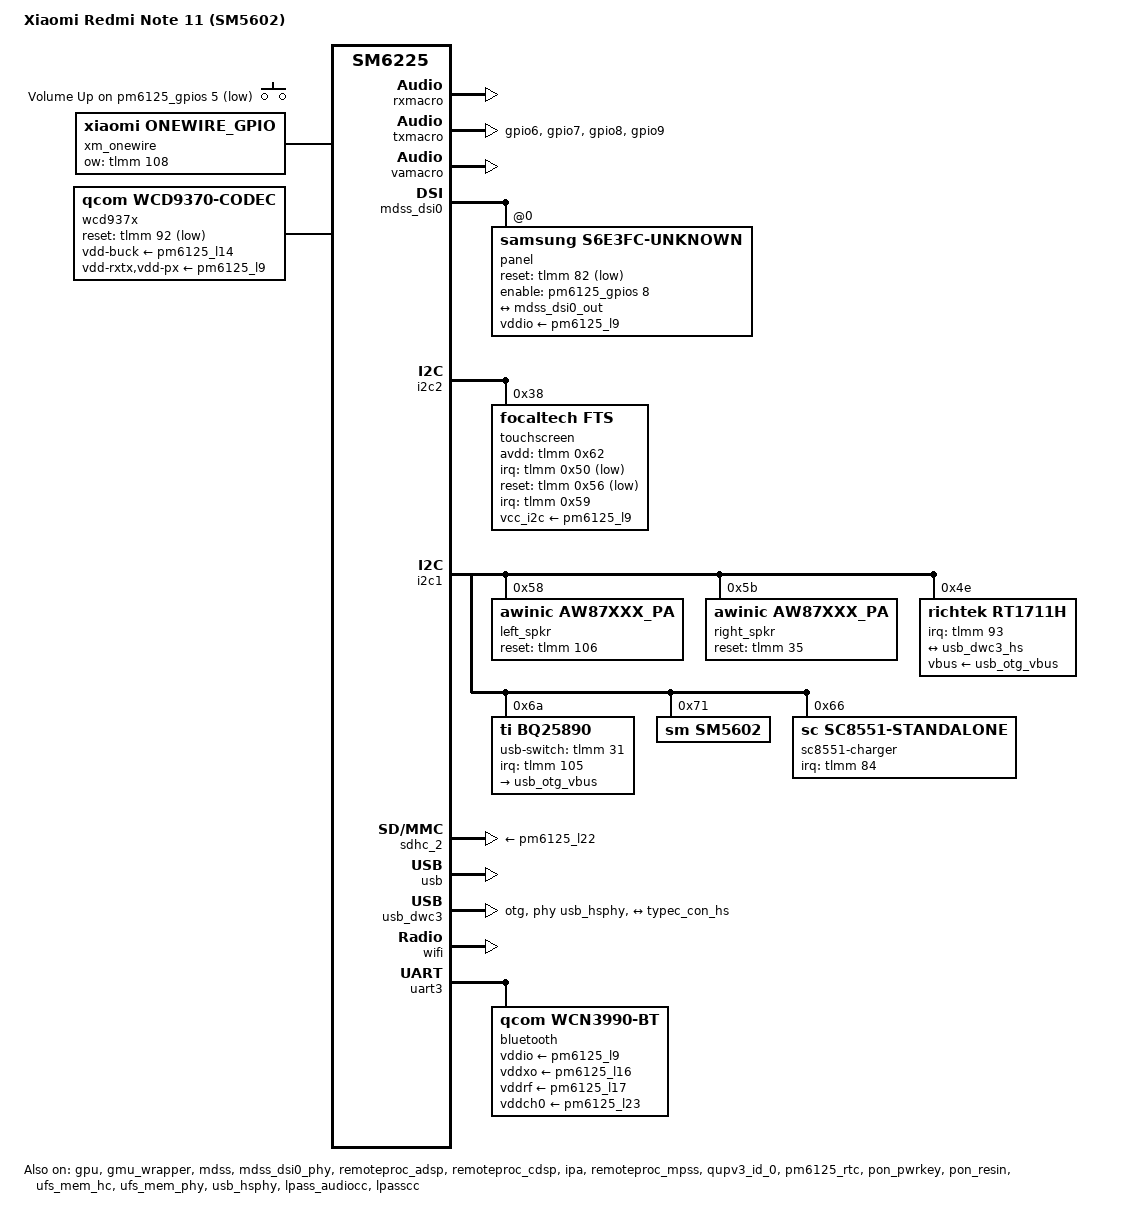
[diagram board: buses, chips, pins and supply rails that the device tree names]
// SPDX-License-Identifier: (GPL-2.0+ OR BSD-3-Clause)
/*
 * Copyright (c) 2026, SCOS100 <hsc100zz@gmail.com>
 */

/dts-v1/;

#include <dt-bindings/usb/pd.h>
#include <dt-bindings/sound/qcom,q6afe.h>
#include <dt-bindings/sound/qcom,q6asm.h>
#include "sm6225.dtsi"
#include "pm6125.dtsi"

/ {
	model = "Xiaomi Redmi Note 11 (SM5602)";
	compatible = "xiaomi,spes", "qcom,sm6225";
	chassis-type = "handset";

	/* required for bootloader to select correct board */
	qcom,msm-id = <518 0x10000>;
	qcom,board-id = <0x40022 0>;
	qcom,pmic-id = <0x2D 0x0 0x0 0x0>;

	aliases {
		serial0 = &uart3;
	};

	gpio-keys {
		compatible = "gpio-keys";
		pinctrl-names = "default";
		pinctrl-0 = <&vol_up_n>;
		key-volume-up {
			label = "Volume Up";
			linux,code = <KEY_VOLUMEUP>;
			gpios = <&pm6125_gpios 5 GPIO_ACTIVE_LOW>;
			debounce-interval = <15>;
			linux,can-disable;
			wakeup-source;
		};
	};

	/* Xiaomi battery authentication over bit-banged 1-wire (gpio108).
	 * Ported from downstream spes-sm5602.dtsi. */
	onewire_gpio: onewire-gpio {
		compatible = "xiaomi,onewire_gpio";
		label = "xm_onewire";
		xiaomi,version = <1>;
		/* Mainline gpiolib only matches hyphenated -gpios/-gpio
		 * names; downstream xiaomi,ow_gpio is kept as a comment
		 * for reference. Values/pins are unchanged. */
		xiaomi,ow-gpios = <&tlmm 108 GPIO_ACTIVE_HIGH>;
		xiaomi,gpio_number = <108>;
		mi,onewire-gpio-cfg-addr = <0x96c000 0x04>;
		pinctrl-names = "onewire_active", "onewire_sleep";
		pinctrl-0 = <&onewire_gpio_active>;
		pinctrl-1 = <&onewire_gpio_sleep>;
		status = "okay";
	};

	maxim_ds28e16: ds28e16 {
		compatible = "maxim,ds28e16";
		label = "max_ds28e16";
		maxim,version = <1>;
		status = "okay";
	};

	/* Xiaomi charger policy: aggregates bms + main buck into the
	 * user-visible battery/usb supplies; SW-JEITA + thermal + pump
	 * coordination. Tables ported from downstream spes-sm5602.dtsi. */
	nopmi_chg: charger-policy {
		compatible = "qcom,nopmi-chg";
		status = "okay";
		main-charger = <&bq25890>;
		pd-source = <&rt1711h>;
		qcom,fv-max-uv = <4400000>;
		/* Divider-pump engage thresholds (no downstream source for
		 * these; conservative: fixed 9V-class PD only). */
		nopmi,pump-min-uv = <9000000>;
		nopmi,pump-max-uv = <10000000>;
		nopmi,pump-min-ua = <2000000>;
		nopmi,pump-max-soc = <95>;
		enable_sw_jeita;
		jeita_temp_above_t4_cv = <4100>;
		jeita_temp_t3_to_t4_cv = <4100>;
		jeita_temp_t2_to_t3_cv = <4450>;
		jeita_temp_t1p5_to_t2_cv = <4450>;
		jeita_temp_t1_to_t1p5_cv = <4450>;
		jeita_temp_t0_to_t1_cv = <4450>;
		jeita_temp_tn1_to_t0_cv = <4450>;
		jeita_temp_below_t0_cv = <4450>;
		temp_t4_thres = <60>;
		temp_t4_thres_minus_x_degree = <58>;
		temp_t3_thres = <0x30>;
		temp_t3_thres_minus_x_degree = <46>;
		temp_t2_thres = <15>;
		temp_t2_thres_plus_x_degree = <0x11>;
		temp_t1p5_thres = <10>;
		temp_t1p5_thres_plus_x_degree = <11>;
		temp_t1_thres = <5>;
		temp_t1_thres_plus_x_degree = <6>;
		temp_t0_thres = <0>;
		temp_t0_thres_plus_x_degree = <1>;
		temp_tn1_thres = <0xfffffff6>;
		temp_tn1_thres_plus_x_degree = <0xfffffff7>;
		temp_neg_10_thres = <0xfffffff6>;
		temp_t3_to_t4_fcc = <2350>;
		temp_t2_to_t3_fcc = <0x173e>;
		temp_t1p5_to_t2_fcc = <3900>;
		temp_t1_to_t1p5_fcc = <2400>;
		temp_t0_to_t1_fcc = <950>;
		temp_tn1_to_t0_fcc = <490>;
		nopmi,thermal-mitigation = <5950000 5400000 5000000 4500000 4000000 3700000 3500000 3000000 2800000 2500000 2000000 1500000 1000000 800000 500000  300000>;
	};

	chosen {
		bootargs = "pmos.nosplash clk_ignore_unused pd_ignore_unused";

		#address-cells = <0x02>;
		#size-cells = <0x02>;
		ranges;

		framebuffer0: framebuffer@5c000000 {
			compatible = "simple-framebuffer";
			format = "a8r8g8b8";
			height = <0x960>;
			reg = <0x00 0x5c000000 0x00 0xf00000>;
			status = "okay";
			stride = <0x10e0>;
			width = <0x438>;
		};
	};

	reserved-memory {};

	sound {
		compatible = "qcom,qrb4210-rb2-sndcard";
		model = "SM6225-WCD9370-WSA8810-Speaker-DMIC";
		audio-routing =
				"AMIC1", "MIC BIAS1",
				"AMIC2", "MIC BIAS2",
				"AMIC3", "MIC BIAS3",

				"IN1_HPHL", "HPHL_OUT",
				"IN2_HPHR", "HPHR_OUT",
				"IN3_AUX", "AUX_OUT",

				"VA DMIC0", "VA MIC BIAS1",
				"VA DMIC1", "VA MIC BIAS1",
				"VA DMIC2", "VA MIC BIAS3",
				"VA DMIC3", "VA MIC BIAS3",

				"VA SWR_MIC0", "ADC1_OUTPUT",
				"VA SWR_MIC4", "ADC2_OUTPUT",
				"VA SWR_MIC5", "ADC3_OUTPUT",

				"TX SWR_INPUT0", "ADC1_OUTPUT",
				"TX SWR_INPUT4", "ADC2_OUTPUT",

				"SpkrLeft IN", "AUX",
				"SpkrRight IN", "AUX";

		aux-devs = <&left_spkr &right_spkr>;

		mm1-dai-link {
			link-name = "MultiMedia1";

			cpu {
				sound-dai = <&q6asmdai MSM_FRONTEND_DAI_MULTIMEDIA1>;
			};
		};

		mm2-dai-link {
			link-name = "MultiMedia2";

			cpu {
				sound-dai = <&q6asmdai MSM_FRONTEND_DAI_MULTIMEDIA2>;
			};
		};

		mm3-dai-link {
			link-name = "MultiMedia3";

			cpu {
				sound-dai = <&q6asmdai MSM_FRONTEND_DAI_MULTIMEDIA3>;
			};
		};

		wcd-playback-dai-link {
			link-name = "WCD Playback";

			cpu {
				sound-dai = <&q6afedai RX_CODEC_DMA_RX_0>;
			};

			platform {
				sound-dai = <&q6routing>;
			};

			codec {
				sound-dai = <&wcd937x 0>,
				<&swr1 0>,
				<&rxmacro 0>;
			};
		};

		// spk-dai-link {
		// 	link-name = "Speaker Playback";
		// 	cpu {
		// 		sound-dai = <&q6afedai SLIMBUS_0_RX>;
		// 	};
		// 	platform {
		// 		sound-dai = <&q6routing>;
		// 	};
		// 	codec {
		// 		sound-dai = <&left_spkr>, <&right_spkr>;
		// 	};
		// };

		wcd-capture-dai-link {
			link-name = "WCD Capture";

			cpu {
				sound-dai = <&q6afedai TX_CODEC_DMA_TX_3>;
			};

			platform {
				sound-dai = <&q6routing>;
			};

			codec {
				sound-dai = <&wcd937x 1>,
				<&swr0 0>,
				<&txmacro 0>;
			};
		};

		va-dai-link {
			link-name = "VA Capture";

			cpu {
				sound-dai = <&q6afedai VA_CODEC_DMA_TX_0>;
			};

			platform {
				sound-dai = <&q6routing>;
			};

			codec {
				sound-dai = <&vamacro 0>;
			};
		};
	};
};

&soc {
	rxmacro: codec@a600000 {
		compatible = "qcom,sm6115-lpass-rx-macro";
		reg = <0x0 0x0a600000 0x0 0x1000>;
		#clock-cells = <0>;
		#sound-dai-cells = <1>;
		clocks = <&q6afecc LPASS_CLK_ID_RX_CORE_MCLK LPASS_CLK_ATTRIBUTE_COUPLE_NO>,
			 <&q6afecc LPASS_CLK_ID_RX_CORE_NPL_MCLK LPASS_CLK_ATTRIBUTE_COUPLE_NO>,
			 <&q6afecc LPASS_HW_DCODEC_VOTE LPASS_CLK_ATTRIBUTE_COUPLE_NO>,
			 <&vamacro>;
		clock-names = "mclk", "npl", "dcodec", "fsgen";
		clock-output-names = "mclk";
		status = "okay";
	};

	txmacro: codec@a620000 {
		compatible = "qcom,sm6115-lpass-tx-macro";
		reg = <0x0 0x0a620000 0x0 0x1000>;
		qcom,dmic-sample-rate = <600000>;
		#clock-cells = <0>;
		#sound-dai-cells = <1>;
		pinctrl-0 = <&lpi_dmic01_active &lpi_dmic23_active>;
		pinctrl-names = "default";
		clocks = <&q6afecc LPASS_CLK_ID_TX_CORE_MCLK LPASS_CLK_ATTRIBUTE_COUPLE_NO>,
			 <&q6afecc LPASS_CLK_ID_TX_CORE_NPL_MCLK LPASS_CLK_ATTRIBUTE_COUPLE_NO>,
			 <&q6afecc LPASS_HW_DCODEC_VOTE LPASS_CLK_ATTRIBUTE_COUPLE_NO>,
			 <&vamacro>;
		clock-names = "mclk", "npl", "dcodec", "fsgen";
		clock-output-names = "mclk";
		status = "okay";
	};

	vamacro: codec@a730000 {
		compatible = "qcom,sm6115-lpass-va-macro";
		reg = <0x0 0x0a730000 0x0 0x1000>;
		qcom,dmic-sample-rate = <600000>;
		#clock-cells = <0>;
		#sound-dai-cells = <1>;
		clocks = <&q6afecc LPASS_CLK_ID_TX_CORE_MCLK LPASS_CLK_ATTRIBUTE_COUPLE_NO>,
			 <&q6afecc LPASS_HW_DCODEC_VOTE LPASS_CLK_ATTRIBUTE_COUPLE_NO>,
			 <&q6afecc LPASS_CLK_ID_TX_CORE_NPL_MCLK LPASS_CLK_ATTRIBUTE_COUPLE_NO>;
		clock-names = "mclk", "dcodec", "npl";
		clock-output-names = "fsgen";
		status = "okay";
	};

	lpass_audiocc: clock-controller@a6a9000 {
		compatible = "qcom,sm6115-lpassaudiocc";
		reg = <0x0 0x0a6a9000 0x0 0x1000>;
		#reset-cells = <1>;

		status = "okay";
	};

	lpasscc: clock-controller@a7ec000 {
		compatible = "qcom,sm6115-lpasscc";
		reg = <0x0 0x0a7ec000 0x0 0x1000>;
		#reset-cells = <1>;

		status = "okay";
	};

	wcd937x: codec {
		compatible = "qcom,wcd9370-codec";
		pinctrl-names = "default";
		pinctrl-0 = <&wcd_reset_n>;
		reset-gpios = <&tlmm 92 GPIO_ACTIVE_LOW>;
		vdd-buck-supply = <&pm6125_l14>;
		vdd-rxtx-supply = <&pm6125_l9>;
		vdd-px-supply = <&pm6125_l9>;
		qcom,micbias1-microvolt = <1800000>;
		qcom,micbias2-microvolt = <1800000>;
		qcom,micbias3-microvolt = <1800000>;
		qcom,rx-device = <&wcd937x_rx>;
		qcom,tx-device = <&wcd937x_tx>;
		#sound-dai-cells = <1>;
	};

	swr0: soundwire@a740000 {
		compatible = "qcom,soundwire-v1.6.0";
		reg = <0x0 0x0a740000 0x0 0x2000>;
		interrupts = <GIC_SPI 296 IRQ_TYPE_LEVEL_HIGH>,
		<GIC_SPI 79 IRQ_TYPE_LEVEL_HIGH>;

		pinctrl-0 = <&lpi_swr_tx_active>;
		pinctrl-names = "default";

		clocks = <&txmacro>;
		clock-names = "iface";

		resets = <&lpasscc 0>;
		reset-names = "swr_audio_cgcr";

		label = "VA_TX";

		qcom,din-ports = <3>;
		qcom,dout-ports = <0>;

		qcom,ports-sinterval-low =
		/bits/ 8 <0x03 0x03 0x03>;
		qcom,ports-offset1 =
		/bits/ 8 <0x01 0x02 0x01>;
		qcom,ports-offset2 =
		/bits/ 8 <0x00 0x00 0x00>;
		qcom,ports-hstart =
		/bits/ 8 <0xff 0xff 0xff>;
		qcom,ports-hstop =
		/bits/ 8 <0xff 0xff 0xff>;
		qcom,ports-word-length =
		/bits/ 8 <0xff 0xff 0xff>;
		qcom,ports-block-pack-mode =
		/bits/ 8 <0xff 0xff 0xff>;
		qcom,ports-block-group-count =
		/bits/ 8 <0xff 0xff 0xff>;
		qcom,ports-lane-control =
		/bits/ 8 <0x00 0x00 0x00>;

		#sound-dai-cells = <1>;
		#address-cells = <2>;
		#size-cells = <0>;

		wcd937x_tx: codec@0,3 {
			compatible = "sdw20217010a00";
			reg = <0 3>;

			/*
			 * WCD9370 TX Port 1 (ADC1)               <=> SWR Port 1
			 * WCD9370 TX Port 2 (ADC2, 3)            <=> SWR Port 1
			 * WCD9370 TX Port 3 (DMIC0,1,2,3 & MBHC) <=> SWR Port 2
			 * WCD9370 TX Port 4 (DMIC4,5,6,7)        <=> SWR Port 3
			 */
			qcom,tx-port-mapping = <1 1 2 3>;

			/*
			 * Static channel mapping between slave and master tx
			 * port channels, in the order of slave port channels
			 * which is adc1, adc2, adc3, mic0, dmic1, mbhc,
			 * dmic2, dmic3, dmic4, dmic5, dmic6, dmic7.
			 */
			qcom,tx-channel-mapping = /bits/ 8
			<1 2 1 1 2 3 3 4 1 2 3 4>;
		};
	};

	swr1: soundwire@a610000 {
		compatible = "qcom,soundwire-v1.6.0";
		reg = <0x0 0x0a610000 0x0 0x2000>;
		interrupts = <GIC_SPI 297 IRQ_TYPE_LEVEL_HIGH>;

		pinctrl-0 = <&lpi_swr_rx_active>;
		pinctrl-names = "default";

		clocks = <&rxmacro>;
		clock-names = "iface";

		resets = <&lpass_audiocc 0>;
		reset-names = "swr_audio_cgcr";

		label = "RX";

		qcom,din-ports = <0>;
		qcom,dout-ports = <5>;

		qcom,ports-sinterval-low =
		/bits/ 8 <0x03 0x1f 0x1f 0x07 0x00>;
		qcom,ports-offset1 =
		/bits/ 8 <0x00 0x00 0x0b 0x01 0x00>;
		qcom,ports-offset2 =
		/bits/ 8 <0x00 0x00 0x0b 0x00 0x00>;
		qcom,ports-hstart =
		/bits/ 8 <0xff 0x03 0xff 0xff 0xff>;
		qcom,ports-hstop =
		/bits/ 8 <0xff 0x06 0xff 0xff 0xff>;
		qcom,ports-word-length =
		/bits/ 8 <0x01 0x07 0x04 0xff 0xff>;
		qcom,ports-block-pack-mode =
		/bits/ 8 <0xff 0x00 0x01 0xff 0xff>;
		qcom,ports-block-group-count =
		/bits/ 8 <0xff 0xff 0xff 0xff 0x00>;
		qcom,ports-lane-control =
		/bits/ 8 <0x01 0x00 0x00 0x00 0x00>;

		#sound-dai-cells = <1>;
		#address-cells = <2>;
		#size-cells = <0>;

		wcd937x_rx: codec@0,4 {
			compatible = "sdw20217010a00";
			reg = <0 4>;
			qcom,rx-port-mapping = <1 2 3 4 5>;
			qcom,rx-channel-mapping = /bits/ 8
			<1 2 1 1 2 1 1 2>;
		};
	};
};

&lpass_tlmm {
	lpi_swr_tx_active: lpi-swr-tx-active-state {
		clk-pins {
			pins = "gpio0";
			function = "swr_tx_clk";
			bias-disable;
			drive-strength = <10>;
			slew-rate = <3>;
		};

		data-pins {
			pins = "gpio1", "gpio2";
			function = "swr_tx_data";
			bias-bus-hold;
			drive-strength = <10>;
			slew-rate = <3>;
		};
	};

	lpi_swr_tx_sleep: lpi-swr-tx-sleep-state {
		clk-pins {
			pins = "gpio0";
			function = "swr_tx_clk";
			bias-pull-down;
			drive-strength = <10>;
			input-enable;
		};

		data-pins {
			pins = "gpio1", "gpio2";
			function = "swr_tx_data";
			bias-bus-hold;
			drive-strength = <10>;
			input-enable;
		};
	};

	lpi_swr_rx_active: lpi-swr-rx-active-state {
		clk-pins {
			pins = "gpio3";
			function = "swr_rx_clk";
			bias-disable;
			drive-strength = <10>;
			slew-rate = <3>;
		};

		data-pins {
			pins = "gpio4", "gpio5";
			function = "swr_rx_data";
			bias-bus-hold;
			drive-strength = <10>;
			slew-rate = <3>;
		};
	};

	lpi_swr_rx_sleep: lpi-swr-rx-sleep-state {
		clk-pins {
			pins = "gpio3";
			function = "swr_rx_clk";
			bias-pull-down;
			drive-strength = <10>;
			input-enable;
		};

		data-pins {
			pins = "gpio4", "gpio5";
			function = "swr_rx_data";
			bias-bus-hold;
			drive-strength = <10>;
			input-enable;
		};
	};

	lpi_dmic01_active: lpi-dmic01-active-state {
		clk-pins {
			pins = "gpio6";
			function = "dmic01_clk";
			drive-strength = <8>;
			output-high;
		};

		data-pins {
			pins = "gpio7";
			function = "dmic01_data";
			drive-strength = <8>;
			input-enable;
		};
	};

	lpi_dmic23_active: lpi-dmic23-active-state {
		clk-pins {
			pins = "gpio8";
			function = "dmic23_clk";
			drive-strength = <8>;
			output-high;
		};

		data-pins {
			pins = "gpio9";
			function = "dmic23_data";
			drive-strength = <8>;
			input-enable;
		};
	};
};

&adreno_smmu {
	status = "okay";
};

&gpu {
	status = "okay";

	zap-shader {
		firmware-name = "qcom/sm6225/XIAOMI/SPES/a610_zap.mdt";
	};
};

&gmu_wrapper {
	status = "okay";
};

&mdss {
	status = "okay";
};

&mdss_dsi0 {
	status = "okay";
	vdda-supply = <&pm6125_l18>;

	panel@0 {
		compatible = "samsung,s6e3fc-unknown";
		reg = <0>;

		vddio-supply = <&pm6125_l9>;

		reset-gpios = <&tlmm 82 0x01>;
		/* downstream: qcom,platform-en-gpio = <&pm6125_gpios 9 0>; */
		enable-gpios = <&pm6125_gpios 8 GPIO_ACTIVE_HIGH>;

		pinctrl-names = "default";
		pinctrl-0 = <&te_active>;

		port {
			panel_in: endpoint {
				remote-endpoint = <&mdss_dsi0_out>;
			};
		};
	};
};

&mdss_dsi0_out {
	data-lanes = <0 1 2 3>;
	remote-endpoint = <&panel_in>;
};

&mdss_dsi0_phy {
	status = "okay";
};

&remoteproc_adsp {
	firmware-name = "qcom/sm6225/XIAOMI/SPESN/adsp.mbn";
	status = "okay";
};

&remoteproc_cdsp {
	firmware-name = "qcom/sm6225/XIAOMI/SPESN/cdsp.mbn";
	status = "okay";
};

&ipa {
	firmware-name = "qcom/sm6225/XIAOMI/SPESN/ipa_fws.mdt";
	status = "okay";
};

&remoteproc_mpss {
	firmware-name = "qcom/sm6225/XIAOMI/SPESN/modem.mdt";
	status = "okay";
};

&tlmm {
	rt1711h_int_n: rt1711h-int-n-state {
		pins = "gpio93";
		function = "gpio";
		drive-strength = <2>;
		bias-pull-up;
	};

	bq2589x_int_default: bq2589x-int-default-state {
		pins = "gpio105";
		function = "gpio";
		drive-strength = <2>;
		bias-pull-up;
		input-enable;
	};

	bq2589x_usb_switch_default: bq2589x-usb-switch-default-state {
		pins = "gpio31";
		function = "gpio";
		drive-strength = <2>;
		bias-pull-down;
		output-low;
	};

	ts_int_active: ts-int-active-state {
		pins = "gpio80";
		function = "gpio";
		drive-strength = <0x08>;
		bias-pull-up;
	};

	ts_int_suspend: ts-int-suspend-state {
		pins = "gpio80";
		function = "gpio";
		drive-strength = <0x02>;
		bias-pull-down;
	};

	ts_reset_active: ts-reset-active-state {
		pins = "gpio86";
		function = "gpio";
		drive-strength = <0x08>;
		bias-pull-up;
	};

	ts_reset_suspend: ts-reset-suspend-state {
		pins = "gpio86";
		function = "gpio";
		drive-strength = <0x02>;
		bias-pull-down;
	};

	mdss_dsi_active: mdss-dsi-active-pin {
		bias-disable;
		drive-strength = <0x08>;
		function = "gpio";
		output-high;
		pins = "gpio82";
	};

	te_active: te-active-pin {
		bias-pull-down;
		drive-strength = <0x02>;
		function = "mdp_vsync";
		input-enable;
		pins = "gpio81";
	};

	wcd_reset_n: wcd-reset-n-active {
		drive-strength = <0x10>;
		output-high;
		pins = "gpio92";
		function = "gpio";
	};

	wcd_reset_n_sleep: wcd-reset-n-sleep {
		drive-strength = <0x10>;
		bias-disable;
		output-low;
		pins = "gpio92";
		function = "gpio";
	};

	onewire_gpio_active: onewire-gpio-active-state {
		pins = "gpio108";
		function = "gpio";
		drive-strength = <2>;
		bias-pull-up;
	};

	onewire_gpio_sleep: onewire-gpio-sleep-state {
		pins = "gpio108";
		function = "gpio";
		drive-strength = <2>;
		bias-pull-down;
	};

	sc8551_int_default: sc8551-int-default-state {
		pins = "gpio84";
		function = "gpio";
		drive-strength = <2>;
		bias-pull-up;
		input-enable;
	};
};

&gpi_dma0 {
	status = "okay";
};

&qupv3_id_0 {
	status = "okay";
};

&i2c2 {
	status = "okay";

	// touchscreen@38 {
	// 	compatible = "focaltech,ft3518";
	// 	reg = <0x38>;
	// 	pinctrl-0 = <&ts_int_active &ts_reset_active>;
	// 	pinctrl-1 = <&ts_int_suspend &ts_reset_suspend>;
	// 	pinctrl-names = "default", "sleep";
	// 	reset-gpios = <&tlmm 86 GPIO_ACTIVE_LOW>;
	// 	interrupt-parents = <&tlmm>;
	// 	interrupts = <89 IRQ_TYPE_EDGE_FALLING>;
	// 	vcc-supply = <&pm6125_l9>;
	// 	touchscreen-size-x = "1080";
	// 	touchscreen-size-y = "2400";
	// };

	touchscreen@38 {
		compatible = "focaltech,fts";
		focaltech,avdd-gpio = <&tlmm 0x62 0x00>;
		focaltech,display-coords = <0x00 0x00 0x438 0x960>;
		focaltech,irq-gpio = <&tlmm 0x50 GPIO_ACTIVE_LOW>;
		focaltech,max-touch-number = <0x0a>;
		focaltech,reset-gpio = <&tlmm 0x56 0x01>;
		interrupt-parent = <&tlmm>;
		interrupts = <0x59 0x02>;
		pinctrl-0 = <&ts_int_active &ts_reset_active>;
		pinctrl-1 = <&ts_int_suspend &ts_reset_suspend>;
		pinctrl-names = "pmx_ts_active", "pmx_ts_suspend";
		reg = <0x38>;
		status = "ok";
		vcc_i2c-supply = <&pm6125_l9>;
	};
};

&i2c1 {
	status = "okay";
	#address-cells = <1>;
	#size-cells = <0>;

	left_spkr: aw87xxx_pa_58@58 {
		compatible = "awinic,aw87xxx_pa";
		dev_index = <0x01>;
		reg = <0x58>;
		reset-gpio = <&tlmm 106 0x00>;
		sound-name-prefix = "SpkrLeft";
		status = "okay";
		#sound-dai-cells = <0>;
	};

	right_spkr: aw87xxx_pa_5B@5b {
		compatible = "awinic,aw87xxx_pa";
		dev_index = <0x00>;
		reg = <0x5b>;
		reset-gpio = <&tlmm 35 0x00>;
		sound-name-prefix = "SpkrRight";
		status = "okay";
		#sound-dai-cells = <0>;
	};

	rt1711h: rt1711h@4e {
		compatible = "richtek,rt1711h";
		reg = <0x4e>;

		/* Host-mode VBUS comes from the charger boost output.
		 * Without this the TCPC cannot probe on mainline. */
		vbus-supply = <&usb_otg_vbus>;

		interrupt-parent = <&tlmm>;
		interrupts = <93 IRQ_TYPE_LEVEL_LOW>;

		pinctrl-names = "default";
		pinctrl-0 = <&rt1711h_int_n>;

		status = "okay";

		connector {
			compatible = "usb-c-connector";
			label = "USB-C";
			power-role = "dual";
			data-role = "dual";
			try-power-role = "sink";

			source-pdos = <PDO_FIXED(5000, 900, PDO_FIXED_USB_COMM | PDO_FIXED_DUAL_ROLE)>;
			/* 9V max: the sc8551 divider path faults above 12V
			 * (bus-ovp threshold), so 12V/20V must not be
			 * offered even though the brick can do more.
			 * 9V/3A = 27W is the fastest standard-PD mode;
			 * Xiaomi 11V/33W needs the proprietary handshake. */
			sink-pdos = <PDO_FIXED(5000, 3000, PDO_FIXED_USB_COMM | PDO_FIXED_DUAL_ROLE) PDO_FIXED(9000, 3000, 0)>;
			op-sink-microwatt = <27000000>; /* 27W max */

			ports {
				#address-cells = <1>;
				#size-cells = <0>;

				port@0 {
					reg = <0>;
					typec_con_hs: endpoint {
						remote-endpoint = <&usb_dwc3_hs>;
					};
				};
			};
		};
	};

	bq25890: bq25890@6a {
		compatible = "ti,bq25890";
		reg = <0x6a>;

		interrupt-parent = <&tlmm>;
		interrupts = <105 IRQ_TYPE_EDGE_FALLING>;

		pinctrl-names = "default";
		pinctrl-0 = <&bq2589x_int_default>;

		ti,charge-current = <2000000>;      /* 2A in µA */
		ti,battery-regulation-voltage = <4450000>; /* 4.45V in µV */
		ti,termination-current = <256000>;  /* 256mA in µA */
		ti,precharge-current = <128000>;    /* 128mA in µA */
		ti,minimum-sys-voltage = <3500000>; /* 3.5V in µV */
		ti,boost-voltage = <5000000>;       /* 5V boost output */
		ti,boost-max-current = <1500000>;   /* 1.5A boost */
		ti,input-current-sdp = <500000>;    /* SDP: 500mA */
		ti,input-current-cdp = <1500000>;   /* CDP: 1.5A */
		ti,input-current-dcp = <2000000>;   /* DCP: 2A */
		ti,enable-auto-dpdm;
		ti,enable-termination;
		usb-switch-gpios = <&tlmm 31 GPIO_ACTIVE_HIGH>;
		status = "okay";

		/* OTG boost output, consumed by the Type-C controller
		 * (rt1711h vbus-supply) for host-mode VBUS. No voltage
		 * constraints: the bq boost ops expose no voltage list,
		 * so fixed min/max would fail registration. */
		usb_otg_vbus: usb-otg-vbus {
			regulator-name = "usb_otg_vbus";
		};
	};

	sm5602@71 {
		compatible = "sm,sm5602";
		reg = <0x71>;
		sm,en_temp_ex;
		sm,en_batt_det;
		sm,misc = <2048>;
		sm,aging_ctrl = <289>;
		sm,cycle_cfg = <28672>;
		sm,rsns = <0>;
		sm,fg_irq_set = <2047>;
		sm,low_soc1 = <1>;
		sm,low_soc2 = <15>;
		sm,v_l_alarm = <3400>;
		sm,v_h_alarm = <4450>;
		sm,battery_table_num = <0>;
		sm,param_version = <5>;
		sm,t_l_alarm_in = <54>;
		sm,t_h_alarm_in = <1>;
		sm,t_l_alarm_ex = <54834>;
		sm,t_h_alarm_ex = <38239>;
		sm,shutdown-delay-enable;
		sm,soc_decimal_rate = <0 38 10 35 20 33 30 33 40 33 50 33 60 33 70 30 80 25 90 20 95 10>;

		battery_params {
		/* battery 0 */
			battery0,param_version = <10>;
			battery0,max_voltage_uv = <4450000>;
			battery0,battery_type = <4450 0 9932>;
			battery0,battery_table0 = <5120 6966 7259 7437 7517 7550 7565 7575 7617 7664 7706 7754 7786 7842 7918 7991 8121 8213 8313 8424 8604 8791 9041 9420>;
			battery0,battery_table1 = <0 102 490 879 1138 1396 2044 2820 3597 4632 5927 7221 8515 10457 12398 13692 14987 16281 17575 18869 20811 22752 25600 25830>;
			battery0,battery_table2 = <5664 4371 3856 3342 3084 2827 2570 2570>;
			battery0,alpha = <204>;
			battery0,beta = <37>;
			battery0,rs = <95>;
			battery0,rs_value = <80 266 14336 72>;
			battery0,vit_period = <12890>;
			battery0,volt_cal = <32768>;
			battery0,mix_value = <3>;
			battery0,curr_offset = <0>;
			battery0,curr_slope = <32904>;
			battery0,topoff_soc = <7 350>;
			battery0,temp_std = <25>;
			battery0,temp_offset = <0 11 1 0 8 (-1)>;
			battery0,temp_cal = <0 6 1 11 (-1) 0 6 1 9 1>;
			battery0,ext_temp_cal = <0 2 1 2 1 1 2 3 2 3>;
			battery0,tem_poff = <3400 100>;
			battery0,fcm_offset = <64>;
			battery0,thermal_table = <7493 6809 6394 5344 4382 3472 2224 1255 122 62692 61981 60981 60117 59190 58319 57324 56457 55794 55167 54260 53566 53137 52321 51767 51230 50627 49872 49257 48663 48097 47558 47040 46547 46080 45634 45202 44797 44412 44038 43686 43347 43028 42718 42430 42149 41884 41633 41393 41163 40947 40739 40537 40346 40167 39995 39829 39671 39522 39378 39243 39115 38990 38870 38757 38650 38547 38449 38355 38265 38179 38095 38017 37941 37868 37798 37732 37669 37610 37553 37499 37445 37394 37345 37298 37253 37210 37170 37131 37094 37058 37024 36990 36958 36928 36898 36870 36842 36816 36791 36768 36746>;
		/* battery 1 */
			battery1,param_version = <10>;
			battery1,max_voltage_uv = <4450000>;
			battery1,battery_type = <4450 0 9932>;
			battery1,battery_table0 = <5120 6966 7259 7437 7517 7550 7565 7575 7617 7664 7706 7754 7786 7842 7918 7991 8121 8213 8313 8424 8604 8791 9041 9420>;
			battery1,battery_table1 = <0 102 490 879 1138 1396 2044 2820 3597 4632 5927 7221 8515 10457 12398 13692 14987 16281 17575 18869 20811 22752 25600 25830>;
			battery1,battery_table2 = <5664 4371 3856 3342 3084 2827 2570 2570>;
			battery1,alpha = <204>;
			battery1,beta = <37>;
			battery1,rs = <95>;
			battery1,rs_value = <80 266 14336 72>;
			battery1,vit_period = <12890>;
			battery1,volt_cal = <32768>;
			battery1,mix_value = <3>;
			battery1,curr_offset = <0>;
			battery1,curr_slope = <32904>;
			battery1,topoff_soc = <7 350>;
			battery1,temp_std = <25>;
			battery1,temp_offset = <0 11 1 0 8 (-1)>;
			battery1,temp_cal = <0 6 1 11 (-1) 0 6 1 9 1>;
			battery1,ext_temp_cal = <0 2 1 2 1 1 2 3 2 3>;
			battery1,tem_poff = <3400 100>;
			battery1,fcm_offset = <64>;
			battery1,thermal_table = <7493 6809 6394 5344 4382 3472 2224 1255 122 62692 61981 60981 60117 59190 58319 57324 56457 55794 55167 54260 53566 53137 52321 51767 51230 50627 49872 49257 48663 48097 47558 47040 46547 46080 45634 45202 44797 44412 44038 43686 43347 43028 42718 42430 42149 41884 41633 41393 41163 40947 40739 40537 40346 40167 39995 39829 39671 39522 39378 39243 39115 38990 38870 38757 38650 38547 38449 38355 38265 38179 38095 38017 37941 37868 37798 37732 37669 37610 37553 37499 37445 37394 37345 37298 37253 37210 37170 37131 37094 37058 37024 36990 36958 36928 36898 36870 36842 36816 36791 36768 36746>;
		/* battery 2 */
			battery2,param_version = <10>;
			battery2,max_voltage_uv = <4450000>;
			battery2,battery_type = <4450 0 9881>;
			battery2,battery_table0 = <5120 6984 7279 7406 7498 7549 7565 7579 7629 7683 7726 7772 7803 7839 7913 7983 8118 8208 8307 8417 8596 8788 9041 9420>;
			battery2,battery_table1 = <0 101 493 755 1016 1278 1801 2847 3762 5070 6377 7685 8993 10300 12262 13569 14877 16185 17492 18800 20761 22723 25600 25830>;
			battery2,battery_table2 = <5664 4371 3856 3342 3084 2827 2570 2570>;
			battery2,alpha = <204>;
			battery2,beta = <37>;
			battery2,rs = <95>;
			battery2,rs_value = <80 266 14336 72>;
			battery2,vit_period = <12890>;
			battery2,volt_cal = <32768>;
			battery2,mix_value = <3>;
			battery2,curr_offset = <0>;
			battery2,curr_slope = <32904>;
			battery2,topoff_soc = <7 350>;
			battery2,temp_std = <25>;
			battery2,temp_offset = <0 11 1 0 8 (-1)>;
			battery2,temp_cal = <0 6 1 11 (-1) 0 6 1 9 1>;
			battery2,ext_temp_cal = <0 2 1 2 1 1 2 3 2 3>;
			battery2,tem_poff = <3400 100>;
			battery2,fcm_offset = <64>;
			battery2,thermal_table = <7493 6809 6394 5344 4382 3472 2224 1255 122 62692 61981 60981 60117 59190 58319 57324 56457 55794 55167 54260 53566 53137 52321 51767 51230 50627 49872 49257 48663 48097 47558 47040 46547 46080 45634 45202 44797 44412 44038 43686 43347 43028 42718 42430 42149 41884 41633 41393 41163 40947 40739 40537 40346 40167 39995 39829 39671 39522 39378 39243 39115 38990 38870 38757 38650 38547 38449 38355 38265 38179 38095 38017 37941 37868 37798 37732 37669 37610 37553 37499 37445 37394 37345 37298 37253 37210 37170 37131 37094 37058 37024 36990 36958 36928 36898 36870 36842 36816 36791 36768 36746>;
             };
       };

	sc8551-charger@66 {
		compatible = "sc,sc8551-standalone";
		reg = <0x66>;

		interrupt-parent = <&tlmm>;
		interrupts = <84 IRQ_TYPE_EDGE_FALLING>;

		pinctrl-names = "default";
		pinctrl-0 = <&sc8551_int_default>;

		sc,sc8551,bat-therm-disable = <0>;
		sc,sc8551,bus-therm-disable = <0>;
		sc,sc8551,bat-ovp-threshold = <4525>;
		sc,sc8551,bat-ovp-alarm-threshold = <4400>;
		sc,sc8551,bat-ocp-threshold = <8000>;
		sc,sc8551,bat-ocp-alarm-threshold = <7500>;
		sc,sc8551,bus-ovp-threshold = <12000>;
		sc,sc8551,bus-ovp-alarm-threshold = <11000>;
		sc,sc8551,bus-ocp-threshold = <4250>;
		sc,sc8551,bus-ocp-alarm-threshold = <3500>;
		sc,sc8551,bat-ucp-alarm-threshold = <2000>;
		sc,sc8551,bat-therm-threshold = <21>;
		sc,sc8551,bus-therm-threshold = <21>;
		sc,sc8551,die-therm-threshold = <125>;
		sc,sc8551,ac-ovp-threshold = <17>;
		sc,sc8551,sense-resistor-mohm = <5>;
		status = "okay";
	};
};

&rpm_requests {
	regulators-0 {
		compatible = "qcom,rpm-pm6125-regulators";

		/*
		 * S3/S4 is VDD_CX
		 * S5 is VDD_MX/WCSS_MX
		 */

		pm6125_s3: s3 {
			regulator-min-microvolt = <300000>;   /* 0.3V minimum */
			regulator-max-microvolt = <1372000>;  /* 1.372V maximum */
			regulator-always-on;
		};
		pm6125_s4: s4 {
			regulator-min-microvolt = <300000>;   /* 0.3V minimum */
			regulator-max-microvolt = <1372000>;  /* 1.372V maximum */
			regulator-always-on;
		};

		pm6125_s6: s6 {
			regulator-min-microvolt = <400000>;
			regulator-max-microvolt = <1419000>;
		};

		pm6125_s7: s7 {
			regulator-min-microvolt = <1569000>;
			regulator-max-microvolt = <2040000>;
		};

		pm6125_s8: s8 {
			regulator-min-microvolt = <1060000>;
			regulator-max-microvolt = <1170000>;
		};

		pm6125_l1: l1 {
			regulator-min-microvolt = <950000>;
			regulator-max-microvolt = <1150000>;
		};

		pm6125_l4: l4 {
			regulator-min-microvolt = <720000>;
			regulator-max-microvolt = <1050000>;
		};

		pm6125_l5: l5 {
			regulator-min-microvolt = <1648000>;
			/* 3.056V capped to 2.96V for SDHCI */
			regulator-max-microvolt = <3200000>;
			regulator-allow-set-load;
			/* Broken hw, this one can't be turned off or SDHCI will break! */
			regulator-always-on;
		};

		pm6125_l6: l6 {
			regulator-min-microvolt = <570000>;
			regulator-max-microvolt = <650000>;
		};

		pm6125_l7: l7 {
			/* 1.2V-1.304V fixed at 1.256V for SDHCI bias */
			regulator-min-microvolt = <1256000>;
			regulator-max-microvolt = <1256000>;
			/*
			 * TODO: SDHCI seems to also work with this one turned off, however
			 * there exists a possibility that it may not work with some very
			 * specific SDCard types, perhaps validating this against a wide
			 * range of models could rule that out, saving some power would
			 * certainly be nice..
			 */
			regulator-always-on;
		};

		pm6125_l8: l8 {
			regulator-min-microvolt = <400000>;
			regulator-max-microvolt = <728000>;
		};

		pm6125_l9: l9 {
			regulator-min-microvolt = <1504000>;
			regulator-max-microvolt = <2000000>;
			regulator-always-on;
		};

		pm6125_l10: l10 {
			regulator-min-microvolt = <1700000>;
			regulator-max-microvolt = <1900000>;
		};

		pm6125_l11: l11 {
			regulator-min-microvolt = <1700000>;
			regulator-max-microvolt = <1950000>;
		};

		pm6125_l12: l12 {
			regulator-min-microvolt = <1620000>;
			regulator-max-microvolt = <1980000>;
		};

		pm6125_l13: l13 {
			regulator-min-microvolt = <1504000>;
			regulator-max-microvolt = <2000000>;
		};

		pm6125_l14: l14 {
			regulator-min-microvolt = <1700000>;
			regulator-max-microvolt = <1900000>;
		};

		pm6125_l15: l15 {
			regulator-min-microvolt = <2700000>;
			regulator-max-microvolt = <3544000>;
		};

		pm6125_l16: l16 {
			regulator-min-microvolt = <1700000>;
			regulator-max-microvolt = <1900000>;
		};

		pm6125_l17: l17 {
			regulator-min-microvolt = <1220000>;
			regulator-max-microvolt = <1304000>;
		};

		pm6125_l18: l18 {
			/* 1.104V-1.312V fixed @ 1.232V for DSIPHY, matches
			 * downstream khaje-regulator (init 1232000) and the
			 * downstream DSI vdda-1p2 1232000 supply entry. */
			regulator-min-microvolt = <1232000>;
			regulator-max-microvolt = <1232000>;
		};

		pm6125_l19: l19 {
			regulator-min-microvolt = <1620000>;
			regulator-max-microvolt = <3300000>;
		};

		pm6125_l20: l20 {
			regulator-min-microvolt = <1620000>;
			regulator-max-microvolt = <3300000>;
		};

		pm6125_l21: l21 {
			regulator-min-microvolt = <1600000>;
			regulator-max-microvolt = <3544000>;
		};

		pm6125_l22: l22 {
			regulator-min-microvolt = <2950000>;
			/* 3.304V capped to 2.96V for SDHCI */
			regulator-max-microvolt = <3300000>;
			regulator-allow-set-load;
			/* Broken hw, this one can't be turned off or SDHCI will break! */
			regulator-always-on;
		};

		pm6125_l23: l23 {
			regulator-min-microvolt = <3200000>;
			regulator-max-microvolt = <3400000>;
		};

		pm6125_l24: l24 {
			regulator-min-microvolt = <2700000>;
			regulator-max-microvolt = <3544000>;
		};
	};
};

&pm6125_gpios {
	vol_up_n: vol-up-n-state {
		pins = "gpio5";
		function = "normal";
		power-source = <0>;
		bias-pull-up;
		input-enable;
	};

	disp_bias_en_default: disp-bias-en-default-state {
		pins = "gpio9";
		function = "normal";
		power-source = <0>;
		bias-disable;
	};
};

&pm6125_rtc {
	status = "okay";
};

&pon_pwrkey {
	status = "okay";
};

&pon_resin {
	linux,code = <KEY_VOLUMEDOWN>;
	status = "okay";
};

&sdc2_state_off {
	cd-pins {
		pins = "gpio88";
		function = "gpio";
		drive-strength = <2>;
		bias-disable;
	};
};

&sdc2_state_on {
	cd-pins {
		pins = "gpio88";
		function = "gpio";
		drive-strength = <2>;
		bias-pull-up;
	};
};

&sdhc_2 {
	pinctrl-0 = <&sdc2_state_on>;
	pinctrl-1 = <&sdc2_state_off>;
	pinctrl-names = "default", "sleep";

	//cd-gpios = <&tlmm 88 GPIO_ACTIVE_LOW>;

	vmmc-supply = <&pm6125_l22>;
	vqmmc-supply = <&pm6125_l5>;

	status = "okay";
};

&sleep_clk {
	clock-frequency = <32764>;
};

&ufs_mem_hc {
	vcc-supply = <&pm6125_l24>;
	vcc-max-microamp = <800000>;
	vccq2-supply = <&pm6125_l11>;
	vccq2-max-microamp = <800000>;
	vdd-hba-supply = <&pm6125_l18>; // ??? sus
	status = "okay";
};

&ufs_mem_phy {
	vdda-phy-supply = <&pm6125_l4>;
	vdda-phy-max-microamp = <0x14ec4>;
	vdda-pll-supply = <&pm6125_l18>;
	status = "okay";
	vdda-pll-max-microamp = <0x477c>;
};

&usb {
	status = "okay";
	qcom,select-utmi-as-pipe-clk;
};

&usb_dwc3 {
	phys = <&usb_hsphy>;
	phy-names = "usb2-phy";
	maximum-speed = "high-speed";
	dr_mode = "otg";

	ports {
		port@0 {
			usb_dwc3_hs: endpoint {
				remote-endpoint = <&typec_con_hs>;
			};
		};
	};
};

&usb_hsphy {
	vdd-supply = <&pm6125_l4>;
	vdda-pll-supply = <&pm6125_l12>;
	vdda-phy-dpdm-supply = <&pm6125_l15>;
	status = "okay";
};

// &usb_qmpphy {
// 	vdda-phy-supply = <&pm6125_l4>;
// 	vdda-pll-supply = <&pm6125_l12>;
// 	status = "okay";
// };

&wifi {
	vdd-0.8-cx-mx-supply = <&pm6125_l8>;
	vdd-1.8-xo-supply = <&pm6125_l16>;
	vdd-1.3-rfa-supply = <&pm6125_l17>;
	vdd-3.3-ch0-supply = <&pm6125_l23>;
	status = "okay";
};

&uart3 {
	pinctrl-0 = <&qup_uart3_4pin>;
	status = "okay";

	bluetooth {
		compatible = "qcom,wcn3990-bt";

		vddio-supply = <&pm6125_l9>;
		vddxo-supply = <&pm6125_l16>;
		vddrf-supply = <&pm6125_l17>;
		vddch0-supply = <&pm6125_l23>;
	};
};

&xo_board {
	clock-frequency = <19200000>;
};
